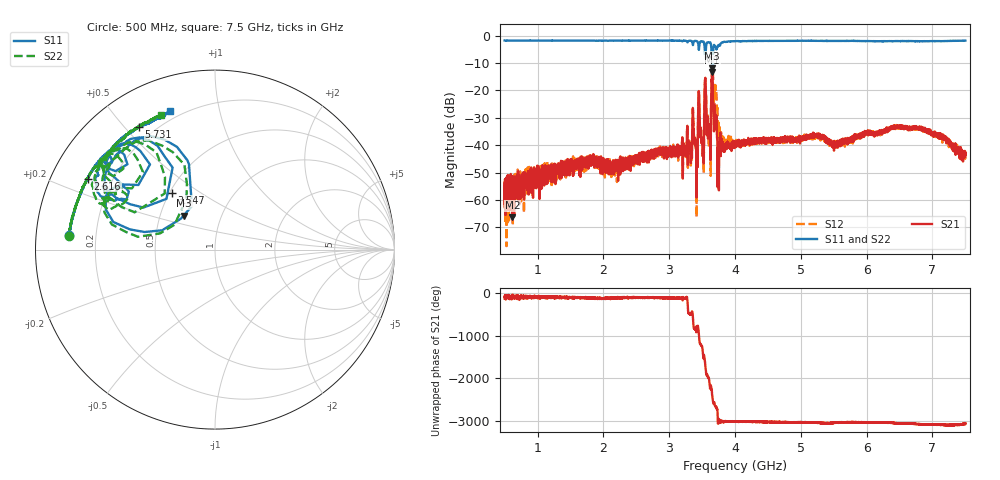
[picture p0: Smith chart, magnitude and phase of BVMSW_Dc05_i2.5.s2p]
!Keysight Technologies,M9374A,MY55442783,A.12.55.05
!Date: Thursday, May 20, 2021 18:49:55
!Correction: S11(Full 2 Port(1,2))
!S21(Full 2 Port(1,2))
!S12(Full 2 Port(1,2))
!S22(Full 2 Port(1,2))
!S2P File: Measurements: S11, S21, S12, S22:
# Hz S  RI  R 50
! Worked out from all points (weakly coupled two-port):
!   7001 points, 500 MHz to 7.5 GHz, reference 50 ohm
!   highest |S21| = -13.26 dB at 3.653 GHz (marker M1); lowest = -66.3 dB at 618 MHz (marker M2)
!   lowest |S11| = -11.8 dB at 3.655 GHz (marker M3), VSWR 1.69, Z = 33.1 + j13.4 ohm
!   |S11| at or under -10 dB: 3.650654 GHz to 3.660096 GHz (9.442 MHz wide, 0.258 % of centre)
!   |S22| runs from -11.7 to -1.7 dB; largest |S21 - S12| = 0.14
!   S11 on the Smith chart (normalised r, x): 500 MHz: 0.10, +0.05; 2.616 GHz: 0.11, +0.26; 3.547 GHz: 0.51, +0.39; 5.731 GHz: 0.14, +0.55; 7.5 GHz: 0.16, +0.72
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5e8  -0.8144 0.0812  -0.00125 -0.00121  -0.00122 -0.00182  -0.8145 0.0757
6.18e8  -0.8099 0.1009  6.76e-05 -0.00048  -0.000285 -0.00169  -0.8125 0.0922
1.667e9  -0.7705 0.2569  -0.00166 -0.00334  -0.00253 -0.00516  -0.7771 0.2381
2.616e9  -0.7082 0.3957  -0.00277 -0.00557  -0.00209 -0.00539  -0.7215 0.3746
2.834e9  -0.6904 0.4299  -0.00352 -0.00659  -0.00277 -0.00683  -0.7047 0.4099
3.315e9  -0.6099 0.5348  -0.00699 -0.00598  -0.00889 -0.0063  -0.6326 0.5047
3.377e9  -0.6172 0.4924  -0.00509 -0.0131  -0.00498 -0.0129  -0.633 0.4727
3.403e9  -0.5828 0.5529  -0.00895 -0.00594  -0.00884 -0.00495  -0.6054 0.5244
3.469e9  -0.6049 0.4625  -0.00853 -0.0156  -0.00566 -0.0188  -0.624 0.4355
3.499e9  -0.5522 0.5646  -0.0119 -0.00184  -0.0118 -0.00111  -0.5735 0.5411
3.547e9  -0.2411 0.3162  -0.0996 0.1304  -0.1242 0.1089  -0.2755 0.3341
3.602e9  -0.535 0.5399  -0.0136 0.00249  -0.00684 0.00629  -0.5565 0.5113
3.653e9  -0.1417 0.2158  -0.1351 0.1701  -0.1976 0.1499  -0.1662 0.2426
3.655e9  -0.1729 0.1885  -0.0886 0.1974  -0.0791 0.2447  -0.1957 0.1696
3.683e9  -0.5929 0.3291  0.0162 -0.0164  -0.0302 -0.0141  -0.5997 0.3077
3.762e9  -0.5973 0.325  -0.00141 -0.00909  -0.000364 -0.0199  -0.6008 0.2856
4e9  -0.6335 0.4771  -0.00615 -0.00894  -0.00785 -0.00872  -0.6525 0.4446
5.167e9  -0.4967 0.638  -0.0133 -0.00786  -0.0122 -0.00669  -0.5402 0.5984
5.731e9  -0.4245 0.6821  -0.00999 -0.00684  -0.0103 -0.0069  -0.4864 0.6436
6.334e9  -0.356 0.7116  -0.0174 -0.00665  -0.0176 -0.00653  -0.4225 0.6884
6.863e9  -0.3039 0.7348  -0.018 0.00577  -0.0178 0.00594  -0.3642 0.7173
7.5e9  -0.2484 0.7743  -0.00679 -0.00157  -0.00668 7.71e-05  -0.3004 0.7494
